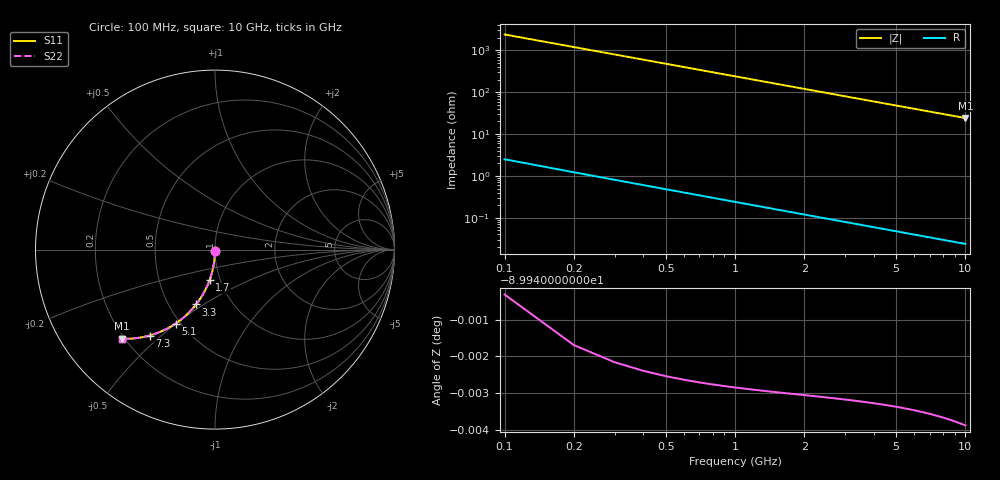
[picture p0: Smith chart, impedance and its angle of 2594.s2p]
# Hz S RI R 50.00
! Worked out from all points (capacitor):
!   100 points, 100 MHz to 10 GHz, reference 50 ohm
!   read as one part in shunt: C = 662 fF near 100 MHz
!   lowest |Z| = 24.2 ohm at 10 GHz (marker M1)
!   S11 on the Smith chart (normalised r, x): 100 MHz: 1.00, -0.02; 1.7 GHz: 0.89, -0.31; 3.3 GHz: 0.68, -0.46; 5.1 GHz: 0.47, -0.50; 7.3 GHz: 0.31, -0.46; 10 GHz: 0.19, -0.39
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1e8  -0.000102 -0.0104  0.9999 -0.0104  0.9999 -0.0104  -0.000102 -0.0104
2e8  -0.000437 -0.0207  0.9995 -0.0209  0.9995 -0.0209  -0.000437 -0.0207
3e8  -0.000987 -0.0311  0.999 -0.0313  0.999 -0.0313  -0.000987 -0.0311
4e8  -0.00175 -0.0414  0.9982 -0.0417  0.9982 -0.0417  -0.00175 -0.0414
5e8  -0.00273 -0.0517  0.9972 -0.052  0.9972 -0.052  -0.00273 -0.0517
6e8  -0.00392 -0.062  0.996 -0.0623  0.996 -0.0623  -0.00392 -0.062
8e8  -0.00694 -0.0824  0.993 -0.0829  0.993 -0.0829  -0.00694 -0.0824
9e8  -0.00876 -0.0925  0.9912 -0.093  0.9912 -0.093  -0.00876 -0.0925
1.1e9  -0.013 -0.1126  0.987 -0.1132  0.987 -0.1132  -0.013 -0.1126
1.4e9  -0.0209 -0.1421  0.9791 -0.1429  0.9791 -0.1429  -0.0209 -0.1421
1.7e9  -0.0304 -0.1709  0.9695 -0.1719  0.9695 -0.1719  -0.0304 -0.1709
1.8e9  -0.034 -0.1803  0.966 -0.1813  0.966 -0.1813  -0.034 -0.1803
2.1e9  -0.0457 -0.2077  0.9543 -0.2089  0.9543 -0.2089  -0.0457 -0.2077
2.5e9  -0.0635 -0.2426  0.9365 -0.2441  0.9365 -0.2441  -0.0635 -0.2426
3.3e9  -0.1055 -0.3057  0.8945 -0.3076  0.8945 -0.3076  -0.1055 -0.3057
3.4e9  -0.1112 -0.3129  0.8888 -0.3149  0.8888 -0.3149  -0.1112 -0.3129
4.2e9  -0.1601 -0.365  0.8398 -0.3675  0.8398 -0.3675  -0.1601 -0.365
5.1e9  -0.2192 -0.4118  0.7807 -0.4147  0.7807 -0.4147  -0.2192 -0.4118
6.7e9  -0.3259 -0.4663  0.674 -0.4702  0.674 -0.4702  -0.3259 -0.4663
7.3e9  -0.3645 -0.4787  0.6354 -0.4829  0.6354 -0.4829  -0.3645 -0.4787
8.4e9  -0.4313 -0.4923  0.5686 -0.4972  0.5686 -0.4972  -0.4313 -0.4923
1e10  -0.5176 -0.4963  0.4824 -0.5021  0.4824 -0.5021  -0.5176 -0.4963
